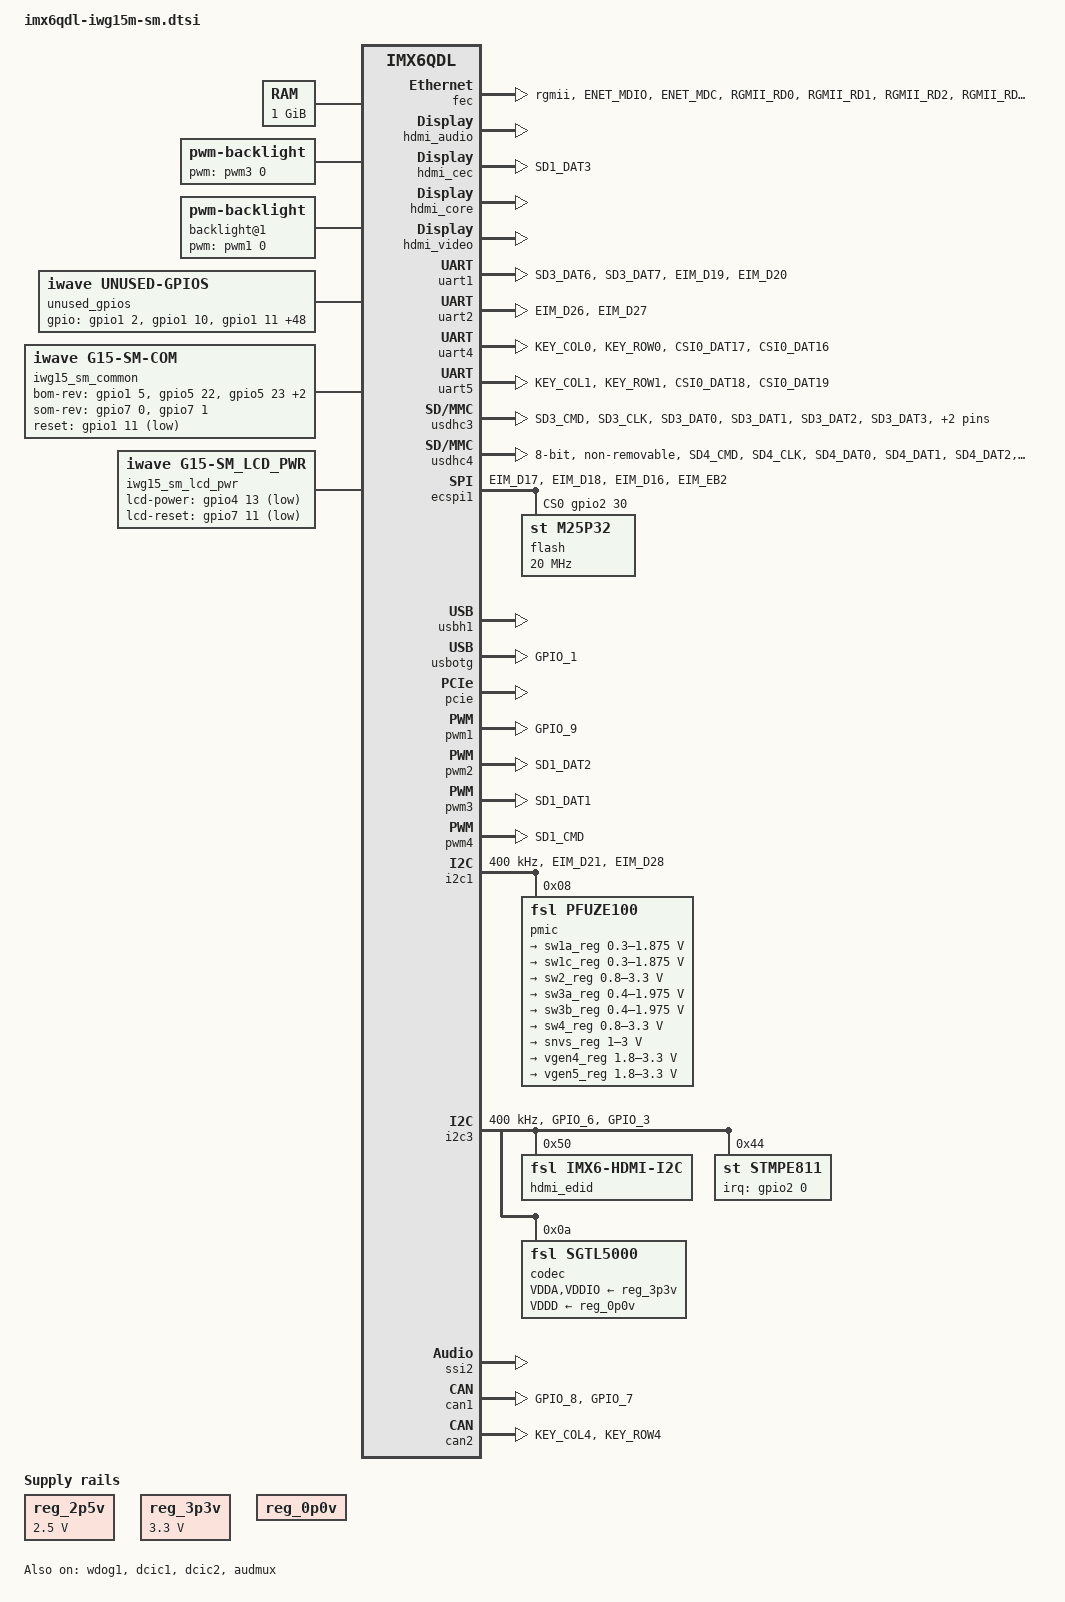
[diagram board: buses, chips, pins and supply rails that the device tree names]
/*
 * Copyright (c) 2017 iWave Systems Technologies Pvt. Ltd.
 *
 * The code contained herein is licensed under the GNU General Public
 * License. You may obtain a copy of the GNU General Public License
 * Version 2 or later at the following locations:
 *
 * http://www.opensource.org/licenses/gpl-license.html
 * http://www.gnu.org/copyleft/gpl.html
 */

#include <dt-bindings/gpio/gpio.h>
#include <dt-bindings/input/input.h>
#include <dt-bindings/pwm/pwm.h>

/ {
	aliases {
		mxcfb0 = &mxcfb1;
		mxcfb1 = &mxcfb2;
		mxcfb2 = &mxcfb3;
	};

	memory: memory {
		reg = <0x10000000 0x40000000>;
	};

	regulators {
		compatible = "simple-bus";

		reg_2p5v: 2p5v {
			compatible = "regulator-fixed";
			regulator-name = "2P5V";
			regulator-min-microvolt = <2500000>;
			regulator-max-microvolt = <2500000>;
			regulator-always-on;
		};

		reg_3p3v: 3p3v {
			compatible = "regulator-fixed";
			regulator-name = "3P3V";
			regulator-min-microvolt = <3300000>;
			regulator-max-microvolt = <3300000>;
			regulator-always-on;
		};

		reg_0p0v: 0p0v {
			compatible = "regulator-fixed";
			regulator-name = "0P0V";
			regulator-min-microvolt = <0000000>;
			regulator-max-microvolt = <0000000>;
			regulator-always-on;
		};

	};

	sound-hdmi {
		compatible = "fsl,imx6q-audio-hdmi",
					"fsl,imx-audio-hdmi";
		model = "imx-audio-hdmi";
		hdmi-controller = <&hdmi_audio>;
	};

	sound {
		compatible = "fsl,imx6q-sgtl5000",
			"fsl,imx-audio-sgtl5000";
		model = "imx6-audio-sgtl5000";
		ssi-controller = <&ssi2>;
		audio-codec = <&codec>;
		audio-routing =
				"MIC_IN", "Mic Jack",
				"Mic Jack", "Mic Bias",
				"Headphone Jack", "HP_OUT";
		mux-int-port = <2>;
		mux-ext-port = <4>;
	};

	mxcfb1: fb@0 {
		compatible = "fsl,mxc_sdc_fb";
		disp_dev = "lcd";
		interface_pix_fmt = "RGB24";
		mode_str ="WQVGA";
		default_bpp = <24>;
		int_clk = <0>;
		late_init = <0>;
		status = "disabled";
	};

	mxcfb2: fb@1 {
		compatible = "fsl,mxc_sdc_fb";
		disp_dev = "hdmi";
		interface_pix_fmt = "RGB24";
		mode_str ="1920x1080M@60";
		default_bpp = <24>;
		int_clk = <0>;
		late_init = <0>;
		status = "disabled";
	};

	mxcfb3: fb@2 {
		compatible = "fsl,mxc_sdc_fb";
		disp_dev = "ldb";
		interface_pix_fmt = "RGB666";
		default_bpp = <16>;
		int_clk = <0>;
		late_init = <0>;
		status = "disabled";
	};

	lcd@0 {
		compatible = "fsl,lcd";
		ipu_id = <0>;
		disp_id = <0>;
		default_ifmt = "RGB565";
		pinctrl-names = "default";
		pinctrl-0 = <&pinctrl_ipu1_2>;
		status = "okay";
	};

	backlight {
		compatible = "pwm-backlight";
		pwms = <&pwm3 0 5000000 PWM_POLARITY_INVERTED>;
		brightness-levels = <0 4 8 16 32 64 128 255>;
		default-brightness-level = <7>;
		status = "okay";
	};

	backlight@1 {
		compatible = "pwm-backlight";
		pwms = <&pwm1 0 5000000 0>;
		brightness-levels = <0 4 8 16 32 64 128 255>;
		default-brightness-level = <7>;
		status = "okay";
	};

	v4l2_cap_0 {
		compatible = "fsl,imx6q-v4l2-capture";
		ipu_id = <0>;
		csi_id = <0>;
		mclk_source = <0>;
		status = "disabled";
	};

	v4l2_cap_1: v4l2_cap_1 {
		compatible = "fsl,imx6q-v4l2-capture";
		csi_id = <1>;
		ipu_id = <0>;
		mclk_source = <0>;
		status = "disabled";
	};

	v4l2_out {
		compatible = "fsl,mxc_v4l2_output";
		status = "okay";
	};


	unused_gpios: unused_gpios {
		gpios = <
			&gpio1 2  0 &gpio1 10 0 &gpio1 11 0
			&gpio1 16 0 &gpio1 20 0 &gpio1 21 0
			&gpio1 24 0 &gpio1 25 0 &gpio1 26 0
			&gpio1 27 0 &gpio1 28 0 &gpio1 29 0
			&gpio1 30 0 &gpio2 0  0 &gpio2 1  0
			&gpio2 2  0 &gpio2 3  0 &gpio2 4  0
			&gpio2 5  0 &gpio2 6  0 &gpio2 7  0
			&gpio2 23 0 &gpio2 25 0 &gpio3 22 0
			&gpio3 23 0 &gpio3 24 0 &gpio3 29 0
			&gpio3 31 0 &gpio4 10 0 &gpio4 11 0
			&gpio4 12 0 &gpio4 20 0
			&gpio5 2  0 &gpio5 18 0 &gpio5 19 0
			&gpio5 20 0 &gpio5 21 0 &gpio5 30 0
			&gpio5 31 0 &gpio6 0  0 &gpio6 1  0
			&gpio6 7  0 &gpio6 8  0 &gpio6 9  0
			&gpio6 11 0 &gpio6 14 0
			&gpio6 15 0 &gpio6 16 0	&gpio6 31 0
			&gpio7 12 0 &gpio7 13 0
		>;
		compatible = "iwave,unused-gpios";
		status = "okay";
	};

	iwg15_sm_common {
		compatible = "iwave,g15-sm-com";
		bom-rev-gpios = <&gpio1 5 GPIO_ACTIVE_HIGH>,
						<&gpio5 22 GPIO_ACTIVE_HIGH>,
						<&gpio5 23 GPIO_ACTIVE_HIGH>,
						<&gpio5 24 GPIO_ACTIVE_HIGH>,
						<&gpio5 25 GPIO_ACTIVE_HIGH>;
		som-rev-gpios = <&gpio7 0 GPIO_ACTIVE_HIGH>,
						<&gpio7 1 GPIO_ACTIVE_HIGH>;

		reset-gpios = <&gpio1 11 GPIO_ACTIVE_LOW>;
		status = "okay";
	};

	iwg15_sm_lcd_pwr {
		compatible = "iwave,g15-sm_lcd_pwr";
		lcd-power-gpios = <&gpio4 13 GPIO_ACTIVE_LOW>;
		lcd-reset-gpios = <&gpio7 11 GPIO_ACTIVE_LOW>;
	};
};

&anatop_reg_3p0 {
	regulator-always-on;
};

&reg_arm {
	vin-supply = <&sw1a_reg>;
};

&reg_pu {
	vin-supply = <&sw1c_reg>;
	regulator-always-on;
};

&reg_soc {
	vin-supply = <&sw1c_reg>;
};

&fec {
	pinctrl-names = "default";
	pinctrl-0 = <&pinctrl_enet_1>;
	phy-mode = "rgmii";
	fsl,magic-packet;
	status = "okay";
};

&gpc {
	fsl,ldo-bypass = <1>; /* use ldo-bypass, u-boot will check it and configure */
	fsl,wdog-reset = <1>; /* watchdog select of reset source */
};

&wdog1 {
	status = "okay";
};

&wdog2 {
	status = "disabled";
};

&hdmi_audio {
	status = "okay";
};

&hdmi_cec {
	pinctrl-names = "default";
	pinctrl-0 = <&pinctrl_hdmi_cec_4>;
	hdmi-cec-sm-gpios = <&gpio1 21 GPIO_ACTIVE_LOW>;
	status = "okay";
};

&hdmi_core {
	ipu_id = <0>;
	disp_id = <1>;
	status = "okay";
};

&hdmi_video {
	fsl,phy_reg_vlev = <0x0294>;
	fsl,phy_reg_cksymtx = <0x800d>;
	status = "okay";
};

&mxcfb1 {
	status = "okay";
};

&mxcfb2 {
	status = "okay";
};

&dcic1 {
	dcic_id = <0>;
	dcic_mux = "dcic-hdmi";
	status = "okay";
};

&dcic2 {
	dcic_id = <1>;
	dcic_mux = "dcic-lvds0";
	status = "okay";
};

&uart1 {
	pinctrl-names = "default";
	pinctrl-0 = <&pinctrl_uart1_1>;
	status = "okay";
};

&uart2 {
	pinctrl-names = "default";
	pinctrl-0 = <&pinctrl_uart2_1>;
	status = "okay";
};

&uart4 {
	pinctrl-names = "default";
	pinctrl-0 = <&pinctrl_uart4_4>;
	status = "okay";
};

&uart5 {
	pinctrl-names = "default";
	pinctrl-0 = <&pinctrl_uart5_4>;
	fsl,uart-has-rtscts;
	status = "okay";
};

&usdhc3 {
	pinctrl-names = "default";
	pinctrl-0 = <&pinctrl_usdhc3_4>;
	cd-gpios = <&gpio3 25 1>;
	no-1-8-v;
	keep-power-in-suspend;
	enable-sdio-wakeup;
	status = "okay";
};

&usdhc4 {
	pinctrl-names = "default";
	pinctrl-0 = <&pinctrl_usdhc4_1>;
	bus-width = <8>;
	non-removable;
	no-1-8-v;
	keep-power-in-suspend;
	status = "okay";
};

&ecspi1 {
	fsl,spi-num-chipselects = <1>;
	cs-gpios = <&gpio2 30 0>;
	pinctrl-names = "default";
	pinctrl-0 = <&pinctrl_ecspi1_1 &pinctrl_ecspi1_cs_1>;
	status = "okay";

	flash: m25p80@0 {
		#address-cells = <1>;
		#size-cells = <1>;
		compatible = "st,m25p32";
		spi-max-frequency = <20000000>;
		reg = <0>;
	};
};

&usbh1 {
	status = "okay";
};

&usbotg {
	pinctrl-names = "default";
	pinctrl-0 = <&pinctrl_usbotg_4>;
	disable-over-current;
	srp-disable;
	hnp-disable;
	adp-disable;
	status = "okay";
};

&pcie {
	status = "okay";
};

&pwm1 {
	#pwm-cells = <3>;
	pinctrl-names = "default";
	pinctrl-0 = <&pinctrl_pwm1_2>;
	status = "okay";
};

&pwm2 {
	pinctrl-names = "default";
	pinctrl-0 = <&pinctrl_pwm2_4>;
	status = "okay";
};

&pwm3 {
	#pwm-cells = <3>;
	pinctrl-names = "default";
	pinctrl-0 = <&pinctrl_pwm3_4>;
	status = "okay";
};

&pwm4 {
	pinctrl-names = "default";
	pinctrl-0 = <&pinctrl_pwm4_4>;
	status = "okay";
};

&i2c1 {
	clock-frequency = <400000>;
	pinctrl-names = "default";
	pinctrl-0 = <&pinctrl_i2c1_1>;
	status = "okay";

};

&i2c3 {
	clock-frequency = <400000>;
	pinctrl-names = "default";
	pinctrl-0 = <&pinctrl_i2c3_4>;
	status = "okay";

	hdmi_edid: edid@50 {
		compatible = "fsl,imx6-hdmi-i2c";
		reg = <0x50>;
	};

	/* STMPE811 touch screen controller */
	stmpe811@44 {
		compatible = "st,stmpe811";
		#address-cells = <1>;
		#size-cells = <0>;
		reg = <0x44>;
		interrupts = <0 2>;
		interrupt-parent = <&gpio2>;
		interrupt-controller;
		id = <0>;
		blocks = <0x5>;
		irq-trigger = <0x1>;

		stmpe_touchscreen {
			compatible = "st,stmpe-ts";
			reg = <0>;
			/* 3.25 MHz ADC clock speed */
			st,adc-freq = <3>;
			/* 8 sample average control */
			st,ave-ctrl = <2>;
			/* 7 length fractional part in z */
			st,fraction-z = <7>;
			/*
				* 50 mA typical 80 mA max touchscreen drivers
				* current limit value
				*/
			st,i-drive = <0>;
			/* 12-bit ADC */
			st,mod-12b = <1>;
			/* internal ADC reference */
			st,ref-sel = <0>;
			/* ADC converstion time: 80 clocks */
			st,sample-time = <4>;
			/* 1 ms panel driver settling time */
			st,settling = <3>;
			/* 5 ms touch detect interrupt delay */
			st,touch-det-delay = <4>;
		};
	};

	codec: sgtl5000@0a {
		compatible = "fsl,sgtl5000";
		reg = <0x0a>;
		clocks = <&clks 201>;
		VDDA-supply = <&reg_3p3v>;
		VDDIO-supply = <&reg_3p3v>;
		VDDD-supply = <&reg_0p0v>;
	};
};

&audmux {
	pinctrl-names = "default";
	pinctrl-0 = <&pinctrl_audmux_4>;
	status = "okay";
};

&ssi2 {
	fsl,mode = "i2s-slave";
	status = "okay";
};

&can1 {
	pinctrl-names = "default";
	pinctrl-0 = <&pinctrl_flexcan1_4>;
	trx-en-gpio = <&gpio6 10 GPIO_ACTIVE_LOW>;
	status = "okay";
};

&can2 {
	pinctrl-names = "default";
	pinctrl-0 = <&pinctrl_flexcan2_2>;
	status = "okay";
};

&i2c1 {
	pmic: pfuze100@08 {
		compatible = "fsl,pfuze100";
		reg = <0x08>;

		regulators {
			sw1a_reg: sw1ab {
				regulator-min-microvolt = <300000>;
				regulator-max-microvolt = <1875000>;
				regulator-boot-on;
				regulator-always-on;
				regulator-ramp-delay = <6250>;
			};

			sw1c_reg: sw1c {
				regulator-min-microvolt = <300000>;
				regulator-max-microvolt = <1875000>;
				regulator-boot-on;
				regulator-always-on;
				regulator-ramp-delay = <6250>;
			};

			sw2_reg: sw2 {
				regulator-min-microvolt = <800000>;
				regulator-max-microvolt = <3300000>;
				regulator-boot-on;
				regulator-always-on;
			};

			sw3a_reg: sw3a {
				regulator-min-microvolt = <400000>;
				regulator-max-microvolt = <1975000>;
				regulator-boot-on;
				regulator-always-on;
			};

			sw3b_reg: sw3b {
				regulator-min-microvolt = <400000>;
				regulator-max-microvolt = <1975000>;
				regulator-boot-on;
				regulator-always-on;
			};

			sw4_reg: sw4 {
				regulator-min-microvolt = <800000>;
				regulator-max-microvolt = <3300000>;
				regulator-always-on;
			};

			snvs_reg: vsnvs {
				regulator-min-microvolt = <1000000>;
				regulator-max-microvolt = <3000000>;
				regulator-boot-on;
				regulator-always-on;
			};

			vref_reg: vrefddr {
				regulator-boot-on;
				regulator-always-on;
			};

			vgen4_reg: vgen4 {
				regulator-min-microvolt = <1800000>;
				regulator-max-microvolt = <3300000>;
				regulator-always-on;
			};

			vgen5_reg: vgen5 {
				regulator-min-microvolt = <1800000>;
				regulator-max-microvolt = <3300000>;
				regulator-always-on;
			};
		};
	};
};

&iomuxc {
	pinctrl-names = "default";
	pinctrl-0 = <&pinctrl_hog_sm_1>;

	uart1 {
		pinctrl_uart1_1: uart1-sm {
			fsl,pins = <
				MX6QDL_PAD_SD3_DAT6__UART1_RX_DATA  0x1b0b1
				MX6QDL_PAD_SD3_DAT7__UART1_TX_DATA  0x1b0b1
				MX6QDL_PAD_EIM_D19__UART1_CTS_B  0x1b0b1
				MX6QDL_PAD_EIM_D20__UART1_RTS_B 0x1b0b1
			>;
		};
	};

	uart2 {
		pinctrl_uart2_1: uart2-sm {
			fsl,pins = <
				MX6QDL_PAD_EIM_D26__UART2_TX_DATA 0x1b0b1
				MX6QDL_PAD_EIM_D27__UART2_RX_DATA 0x1b0b1
			>;
		};
	};

	uart4 {
		pinctrl_uart4_4: uart4-sm {
			fsl,pins = <
				MX6QDL_PAD_KEY_COL0__UART4_TX_DATA  0x1b0b1
				MX6QDL_PAD_KEY_ROW0__UART4_RX_DATA  0x1b0b1
				MX6QDL_PAD_CSI0_DAT17__UART4_CTS_B  0x1b0b1
				MX6QDL_PAD_CSI0_DAT16__UART4_RTS_B  0x1b0b1
			>;
		};
	};

	uart5 {
		pinctrl_uart5_4: uart5-sm {
			fsl,pins = <
				MX6QDL_PAD_KEY_COL1__UART5_TX_DATA  0x1b0b1
				MX6QDL_PAD_KEY_ROW1__UART5_RX_DATA  0x1b0b1
				MX6QDL_PAD_CSI0_DAT18__UART5_RTS_B  0x1b0b1
				MX6QDL_PAD_CSI0_DAT19__UART5_CTS_B  0x1b0b1
			>;
		};
	};

	usdhc3 {
		pinctrl_usdhc3_4: usdhc3-sm {
			fsl,pins = <
				MX6QDL_PAD_SD3_CMD__SD3_CMD         0x17059
				MX6QDL_PAD_SD3_CLK__SD3_CLK         0x10059
				MX6QDL_PAD_SD3_DAT0__SD3_DATA0      0x17059
				MX6QDL_PAD_SD3_DAT1__SD3_DATA1      0x17059
				MX6QDL_PAD_SD3_DAT2__SD3_DATA2      0x17059
				MX6QDL_PAD_SD3_DAT3__SD3_DATA3      0x17059
				MX6QDL_PAD_EIM_D25__GPIO3_IO25      0x17059    /* CD */
			>;
		};
	};

	usdhc4 {
		pinctrl_usdhc4_1: usdhc4-sm {
			fsl,pins = <
				MX6QDL_PAD_SD4_CMD__SD4_CMD    0x17059
				MX6QDL_PAD_SD4_CLK__SD4_CLK    0x10059
				MX6QDL_PAD_SD4_DAT0__SD4_DATA0 0x17059
				MX6QDL_PAD_SD4_DAT1__SD4_DATA1 0x17059
				MX6QDL_PAD_SD4_DAT2__SD4_DATA2 0x17059
				MX6QDL_PAD_SD4_DAT3__SD4_DATA3 0x17059
				MX6QDL_PAD_SD4_DAT4__SD4_DATA4 0x17059
				MX6QDL_PAD_SD4_DAT5__SD4_DATA5 0x17059
				MX6QDL_PAD_SD4_DAT6__SD4_DATA6 0x17059
				MX6QDL_PAD_SD4_DAT7__SD4_DATA7 0x17059
			>;
		};
	};

	ecspi1 {
		pinctrl_ecspi1_cs_1: ecspi1_cs-sm {
			fsl,pins = <
				MX6QDL_PAD_EIM_EB2__GPIO2_IO30 0x80000000
			>;
		};
		pinctrl_ecspi1_1: ecspi1-sm {
			fsl,pins = <
				MX6QDL_PAD_EIM_D17__ECSPI1_MISO 0x100b1
				MX6QDL_PAD_EIM_D18__ECSPI1_MOSI 0x100b1
				MX6QDL_PAD_EIM_D16__ECSPI1_SCLK 0x100b1
			>;
		};
	};

	usbotg {
		pinctrl_usbotg_4: usbotg-sm {
			fsl,pins = <
				MX6QDL_PAD_GPIO_1__USB_OTG_ID       0x17059
			>;
		};
	};

	pwm1 {
		pinctrl_pwm1_2: pwm1-sm {
			fsl,pins = <
				MX6QDL_PAD_GPIO_9__PWM1_OUT 0x1b0b1
			>;
		};
	};

	pwm2 {
		pinctrl_pwm2_4: pwm2-sm {
			fsl,pins = <
				MX6QDL_PAD_SD1_DAT2__PWM2_OUT       0x1b0b1
			>;
		};
	};

	pwm3 {
		pinctrl_pwm3_4: pwm3-sm {
			fsl,pins = <
				MX6QDL_PAD_SD1_DAT1__PWM3_OUT       0x1b0b1
			>;
		};
	};

	pwm4 {
		pinctrl_pwm4_4: pwm4-sm {
			fsl,pins = <
				MX6QDL_PAD_SD1_CMD__PWM4_OUT        0x1b0b1
			>;
		};
	};

	i2c1 {
		pinctrl_i2c1_1: i2c1-sm {
			fsl,pins = <
				MX6QDL_PAD_EIM_D21__I2C1_SCL 0x4001b8b1
				MX6QDL_PAD_EIM_D28__I2C1_SDA 0x4001b8b1
			>;
		};
	};

	i2c3 {
		pinctrl_i2c3_4: i2c3-sm {
			fsl,pins = <
				MX6QDL_PAD_GPIO_6__I2C3_SDA        0x4001b8b1
				MX6QDL_PAD_GPIO_3__I2C3_SCL        0x4001b8b1
			>;
		};
	};

	hdmi_cec {
		pinctrl_hdmi_cec_4: hdmicec-sm {
			fsl,pins = <
				MX6QDL_PAD_SD1_DAT3__GPIO1_IO21    0x80000000
			>;
		};
	};

	led {
		pinctrl_led_3: ledgrp-1 {
			fsl,pins = <
				MX6QDL_PAD_DISP0_DAT18__GPIO5_IO12 0x80000000
				MX6QDL_PAD_DISP0_DAT19__GPIO5_IO13 0x80000000
				MX6QDL_PAD_DISP0_DAT20__GPIO5_IO14 0x80000000
				MX6QDL_PAD_DISP0_DAT21__GPIO5_IO15 0x80000000
			>;
		};
	};

	dipsw {
		pinctrl_dipsw_3: dipswgrp-1 {
			fsl,pins = <
				MX6QDL_PAD_DISP0_DAT3__GPIO4_IO24 0x80000000
				MX6QDL_PAD_DISP0_DAT4__GPIO4_IO25 0x80000000
				MX6QDL_PAD_DISP0_DAT5__GPIO4_IO26 0x80000000
				MX6QDL_PAD_DISP0_DAT6__GPIO4_IO27 0x80000000
			>;
		};
	};

	ipu1 {
		pinctrl_ipu1_2: ipu1grp-sm {
			fsl,pins = <
				MX6QDL_PAD_DISP0_DAT0__IPU1_DISP0_DATA00   0x10
				MX6QDL_PAD_DISP0_DAT1__IPU1_DISP0_DATA01   0x10
				MX6QDL_PAD_DISP0_DAT2__IPU1_DISP0_DATA02   0x10
				MX6QDL_PAD_DISP0_DAT3__IPU1_DISP0_DATA03   0x10
				MX6QDL_PAD_DISP0_DAT4__IPU1_DISP0_DATA04   0x10
				MX6QDL_PAD_DISP0_DAT5__IPU1_DISP0_DATA05   0x10
				MX6QDL_PAD_DISP0_DAT6__IPU1_DISP0_DATA06   0x10
				MX6QDL_PAD_DISP0_DAT7__IPU1_DISP0_DATA07   0x10
				MX6QDL_PAD_DISP0_DAT8__IPU1_DISP0_DATA08   0x10
				MX6QDL_PAD_DISP0_DAT9__IPU1_DISP0_DATA09   0x10
				MX6QDL_PAD_DISP0_DAT10__IPU1_DISP0_DATA10  0x10
				MX6QDL_PAD_DISP0_DAT11__IPU1_DISP0_DATA11  0x10
				MX6QDL_PAD_DISP0_DAT12__IPU1_DISP0_DATA12  0x10
				MX6QDL_PAD_DISP0_DAT13__IPU1_DISP0_DATA13  0x10
				MX6QDL_PAD_DISP0_DAT14__IPU1_DISP0_DATA14  0x10
				MX6QDL_PAD_DISP0_DAT15__IPU1_DISP0_DATA15  0x10
				MX6QDL_PAD_DISP0_DAT16__IPU1_DISP0_DATA16  0x10
				MX6QDL_PAD_DISP0_DAT17__IPU1_DISP0_DATA17  0x10
				MX6QDL_PAD_DISP0_DAT18__IPU1_DISP0_DATA18  0x10
				MX6QDL_PAD_DISP0_DAT19__IPU1_DISP0_DATA19  0x10
				MX6QDL_PAD_DISP0_DAT20__IPU1_DISP0_DATA20  0x10
				MX6QDL_PAD_DISP0_DAT21__IPU1_DISP0_DATA21  0x10
				MX6QDL_PAD_DISP0_DAT22__IPU1_DISP0_DATA22  0x10
				MX6QDL_PAD_DISP0_DAT23__IPU1_DISP0_DATA23  0x10
				MX6QDL_PAD_DI0_DISP_CLK__IPU1_DI0_DISP_CLK 0x10
				MX6QDL_PAD_DI0_PIN15__IPU1_DI0_PIN15	   0x10
				MX6QDL_PAD_DI0_PIN2__IPU1_DI0_PIN02	   0x10
				MX6QDL_PAD_DI0_PIN3__IPU1_DI0_PIN03	   0x10
			>;
		};
	};

	enet {
		pinctrl_enet_1: enetgrp-1-sm {
			fsl,pins = <
				MX6QDL_PAD_ENET_MDIO__ENET_MDIO       0x1b0b0
				MX6QDL_PAD_ENET_MDC__ENET_MDC         0x1b0b0
				MX6QDL_PAD_RGMII_RD0__RGMII_RD0       0x1b0b0
				MX6QDL_PAD_RGMII_RD1__RGMII_RD1       0x1b0b0
				MX6QDL_PAD_RGMII_RD2__RGMII_RD2       0x1b0b0
				MX6QDL_PAD_RGMII_RD3__RGMII_RD3       0x1b0b0
				MX6QDL_PAD_RGMII_RX_CTL__RGMII_RX_CTL 0x1b0b0
				MX6QDL_PAD_RGMII_RXC__RGMII_RXC       0x1b0b0
				MX6QDL_PAD_RGMII_TD0__RGMII_TD0       0x1b0b0
				MX6QDL_PAD_RGMII_TD1__RGMII_TD1       0x1b0b0
				MX6QDL_PAD_RGMII_TD2__RGMII_TD2       0x1b0b0
				MX6QDL_PAD_RGMII_TD3__RGMII_TD3       0x1b0b0
				MX6QDL_PAD_RGMII_TX_CTL__RGMII_TX_CTL 0x1b0b0
				MX6QDL_PAD_RGMII_TXC__RGMII_TXC       0x1b0b0
				MX6QDL_PAD_ENET_REF_CLK__ENET_TX_CLK  0x1b0b0
			>;
		};
	};

	flexcan1 {
		pinctrl_flexcan1_4: flexcan1-sm {
			fsl,pins = <
				MX6QDL_PAD_GPIO_8__FLEXCAN1_RX      0x80000000
				MX6QDL_PAD_GPIO_7__FLEXCAN1_TX      0x80000000
			>;
		};
	};

	flexcan2 {
		pinctrl_flexcan2_2: flexcan2-sm {
			fsl,pins = <
				MX6QDL_PAD_KEY_COL4__FLEXCAN2_TX  0x80000000
				MX6QDL_PAD_KEY_ROW4__FLEXCAN2_RX  0x80000000
			>;
		};
	};

	audmux {
		pinctrl_audmux_4: audmux-sm {
			fsl,pins = <
				MX6QDL_PAD_SD2_DAT0__AUD4_RXD       0x130b0
				MX6QDL_PAD_SD2_DAT3__AUD4_TXC       0x130b0
				MX6QDL_PAD_SD2_DAT2__AUD4_TXD       0x110b0
				MX6QDL_PAD_SD2_DAT1__AUD4_TXFS      0x130b0
				MX6QDL_PAD_GPIO_19__CCM_CLKO1       0x80000000
			>;
		};
	};

	hog {
		/* IOMUX for SODIMM */
		pinctrl_hog_sm_1: hoggrp-sm {
			fsl,pins = <
				/* Touch INT */
				MX6QDL_PAD_CSI0_PIXCLK__GPIO5_IO18     0x80000000
				/*RGMII RESET and INTERRUPT */
				MX6QDL_PAD_ENET_CRS_DV__GPIO1_IO25     0x80000000
				MX6QDL_PAD_ENET_RX_ER__GPIO1_IO24      0x80000000
				/* USB (CC) */
				MX6QDL_PAD_GPIO_0__USB_H1_PWR	       0x80000000
				MX6QDL_PAD_EIM_D30__USB_H1_OC          0x80000000
				/*Unused emmc reset*/
				MX6QDL_PAD_NANDF_ALE__GPIO6_IO08       0x80000000
				/*SOM and BOM revision*/
				MX6QDL_PAD_CSI0_DAT7__GPIO5_IO25       0x80000000
				MX6QDL_PAD_CSI0_DAT6__GPIO5_IO24       0x80000000
				MX6QDL_PAD_CSI0_DAT5__GPIO5_IO23       0x80000000
				MX6QDL_PAD_CSI0_DAT4__GPIO5_IO22       0x80000000
				MX6QDL_PAD_GPIO_5__GPIO1_IO05          0x80000000
				MX6QDL_PAD_GPIO_4__GPIO1_IO04          0x80000000
				MX6QDL_PAD_SD3_DAT4__GPIO7_IO01        0x80000000
				MX6QDL_PAD_SD3_DAT5__GPIO7_IO00        0x80000000

				/*AUD mux pins*/
				MX6QDL_PAD_SD2_CMD__GPIO1_IO11         0x80000000
				MX6QDL_PAD_SD2_CLK__GPIO1_IO10         0x80000000

				/* PMIC interrupt*/
				MX6QDL_PAD_EIM_CS1__GPIO2_IO24         0x80000000

				/* Unused pins */
				MX6QDL_PAD_GPIO_2__GPIO1_IO02	       0x80000000
				MX6QDL_PAD_SD1_DAT0__GPIO1_IO16        0x80000000
				MX6QDL_PAD_SD1_CLK__GPIO1_IO20         0x80000000
				MX6QDL_PAD_ENET_RXD1__GPIO1_IO26       0x80000000
				MX6QDL_PAD_ENET_RXD0__GPIO1_IO27       0x80000000
				MX6QDL_PAD_ENET_TX_EN__GPIO1_IO28      0x80000000
				MX6QDL_PAD_ENET_TXD1__GPIO1_IO29       0x80000000
				MX6QDL_PAD_ENET_TXD0__GPIO1_IO30       0x80000000
				MX6QDL_PAD_NANDF_D0__GPIO2_IO00        0x80000000
				MX6QDL_PAD_NANDF_D1__GPIO2_IO01        0x80000000
				MX6QDL_PAD_NANDF_D2__GPIO2_IO02        0x80000000
				MX6QDL_PAD_NANDF_D3__GPIO2_IO03        0x80000000
				MX6QDL_PAD_NANDF_D4__GPIO2_IO04        0x80000000
				MX6QDL_PAD_NANDF_D5__GPIO2_IO05        0x80000000
				MX6QDL_PAD_NANDF_D6__GPIO2_IO06        0x80000000
				MX6QDL_PAD_NANDF_D7__GPIO2_IO07        0x80000000
				MX6QDL_PAD_EIM_CS0__GPIO2_IO23         0x80000000
				MX6QDL_PAD_EIM_OE__GPIO2_IO25          0x80000000
				MX6QDL_PAD_EIM_D22__GPIO3_IO22         0x80000000
				MX6QDL_PAD_EIM_D23__GPIO3_IO23         0x80000000
				MX6QDL_PAD_EIM_D24__GPIO3_IO24         0x80000000
				MX6QDL_PAD_EIM_D29__GPIO3_IO29         0x80000000
				MX6QDL_PAD_EIM_D31__GPIO3_IO31         0x80000000
				MX6QDL_PAD_KEY_COL2__GPIO4_IO10        0x80000000
				MX6QDL_PAD_KEY_ROW2__GPIO4_IO11        0x80000000
				MX6QDL_PAD_KEY_COL3__GPIO4_IO12        0x80000000
				MX6QDL_PAD_KEY_ROW3__GPIO4_IO13        0x80000000
				MX6QDL_PAD_DI0_PIN4__GPIO4_IO20        0x80000000
				MX6QDL_PAD_EIM_A25__GPIO5_IO02         0x80000000
				MX6QDL_PAD_CSI0_PIXCLK__GPIO5_IO18     0x80000000
				MX6QDL_PAD_CSI0_MCLK__GPIO5_IO19       0x80000000
				MX6QDL_PAD_CSI0_DATA_EN__GPIO5_IO20    0x80000000
				MX6QDL_PAD_CSI0_VSYNC__GPIO5_IO21      0x80000000
				MX6QDL_PAD_CSI0_DAT12__GPIO5_IO30      0x80000000
				MX6QDL_PAD_CSI0_DAT13__GPIO5_IO31      0x80000000
				MX6QDL_PAD_CSI0_DAT14__GPIO6_IO00      0x80000000
				MX6QDL_PAD_CSI0_DAT15__GPIO6_IO01      0x80000000
				MX6QDL_PAD_NANDF_CLE__GPIO6_IO07       0x80000000
				MX6QDL_PAD_NANDF_ALE__GPIO6_IO08       0x80000000
				MX6QDL_PAD_NANDF_WP_B__GPIO6_IO09      0x80000000
				MX6QDL_PAD_NANDF_RB0__GPIO6_IO10       0x80000000
				MX6QDL_PAD_NANDF_CS0__GPIO6_IO11       0x80000000
				MX6QDL_PAD_NANDF_CS1__GPIO6_IO14       0x80000000
				MX6QDL_PAD_NANDF_CS2__GPIO6_IO15       0x80000000
				MX6QDL_PAD_NANDF_CS3__GPIO6_IO16       0x80000000
				MX6QDL_PAD_EIM_BCLK__GPIO6_IO31        0x80000000
				MX6QDL_PAD_GPIO_16__GPIO7_IO11         0x80000000
				MX6QDL_PAD_GPIO_17__GPIO7_IO12         0x80000000
				MX6QDL_PAD_GPIO_18__GPIO7_IO13         0x80000000
				>;
		};
	};
};
